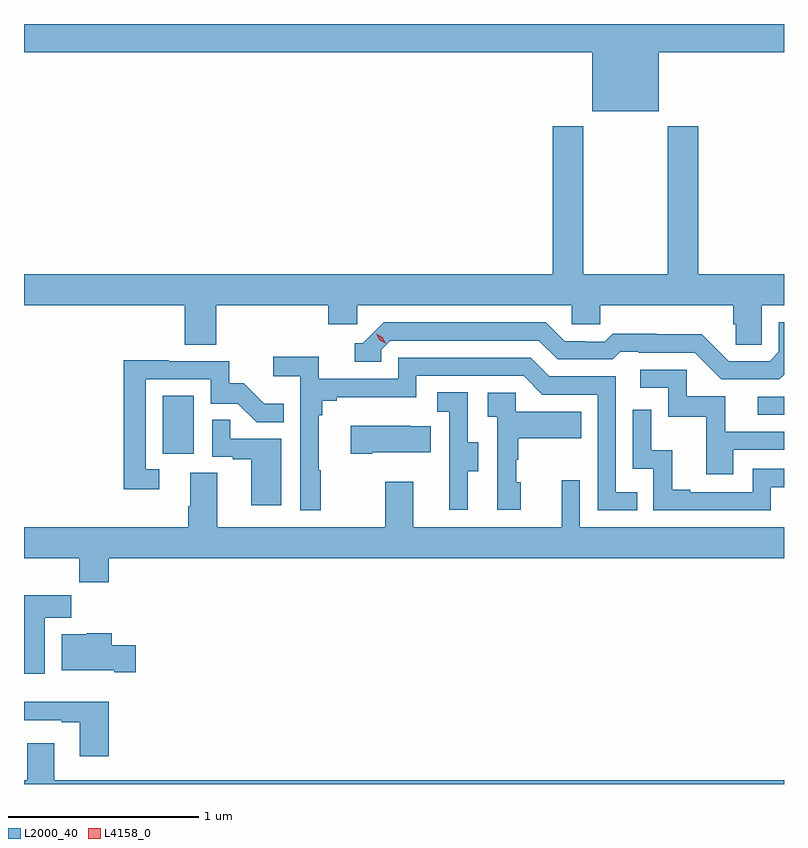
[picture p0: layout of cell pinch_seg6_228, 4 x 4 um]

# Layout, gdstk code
import gdstk
lib = gdstk.Library(unit=1e-6, precision=1e-09)
def R(c, l, rs):  # rectangles x0, y0, x1, y1
    for r in rs: c.add(gdstk.rectangle(r[:2], r[2:], *l))
def P(c, l, *ps):  # polygons
    for p in ps: c.add(gdstk.Polygon(p, *l))
L2000_40 = (2000, 40)
L4158_0 = (4158, 0)

pinch_seg6_228 = lib.new_cell('pinch_seg6_228')
R(pinch_seg6_228, L2000_40, [(1126.358,929.238,1126.522,929.545), (1129.491,929.445,1129.629,929.538)])
P(pinch_seg6_228, L2000_40, [(1128.97,931.352),(1129.629,931.352),(1129.629,931.501),(1125.629,931.501),(1125.629,931.352),(1128.62,931.352),(1128.62,931.043),(1128.97,931.043)],
  [(1126.64,930.02),(1127.231,930.02),(1127.231,929.922),(1127.382,929.922),(1127.382,930.02),(1128.513,930.02),(1128.513,929.922),(1128.663,929.922),(1128.663,930.02),(1129.361,930.02),(1129.361,929.922),(1129.375,929.922),(1129.375,929.812),(1129.512,929.812),(1129.512,930.02),(1129.629,930.02),(1129.629,930.184),(1129.178,930.184),(1129.178,930.964),(1129.018,930.964),(1129.018,930.184),(1128.573,930.184),(1128.573,930.964),(1128.413,930.964),(1128.413,930.184),(1125.629,930.184),(1125.629,930.02),(1126.475,930.02),(1126.475,929.812),(1126.64,929.812)],
  [(1129.629,929.655),(1129.629,929.931),(1129.602,929.931),(1129.602,929.775),(1129.554,929.727),(1129.338,929.727),(1129.196,929.869),(1128.96,929.869),(1128.96,929.872),(1128.727,929.872),(1128.685,929.829),(1128.582,929.829),(1128.582,929.832),(1128.475,929.832),(1128.376,929.931),(1127.523,929.931),(1127.412,929.82),(1127.369,929.82),(1127.369,929.724),(1127.508,929.724),(1127.508,929.787),(1127.556,929.835),(1128.339,929.835),(1128.438,929.736),(1128.727,929.736),(1128.766,929.775),(1128.865,929.775),(1128.865,929.772),(1129.158,929.772),(1129.299,929.631),(1129.605,929.631)],
  [(1127.191,929.153),(1127.179,929.153),(1127.179,929.441),(1127.198,929.441),(1127.198,929.518),(1127.275,929.518),(1127.275,929.537),(1127.694,929.537),(1127.694,929.649),(1128.258,929.649),(1128.357,929.55),(1128.648,929.55),(1128.648,928.941),(1128.857,928.941),(1128.857,929.037),(1128.744,929.037),(1128.744,929.646),(1128.394,929.646),(1128.295,929.745),(1127.598,929.745),(1127.598,929.634),(1127.18,929.634),(1127.18,929.75),(1126.941,929.75),(1126.941,929.648),(1127.082,929.648),(1127.082,928.941),(1127.191,928.941)],
  [(1126.342,929.157),(1126.269,929.157),(1126.269,929.631),(1126.611,929.631),(1126.611,929.502),(1126.755,929.502),(1126.853,929.404),(1126.997,929.404),(1126.997,929.503),(1126.893,929.503),(1126.786,929.61),(1126.71,929.61),(1126.71,929.727),(1126.391,929.727),(1126.391,929.732),(1126.153,929.732),(1126.153,929.052),(1126.342,929.052)],
  [(1129.363,929.259),(1129.629,929.259),(1129.629,929.355),(1129.321,929.355),(1129.321,929.541),(1129.116,929.541),(1129.116,929.682),(1128.873,929.682),(1128.873,929.586),(1129.02,929.586),(1129.02,929.433),(1129.219,929.433),(1129.219,929.13),(1129.363,929.13)],
  [(1127.965,929.146),(1128.019,929.146),(1128.019,929.301),(1127.964,929.301),(1127.964,929.564),(1127.805,929.564),(1127.805,929.461),(1127.868,929.461),(1127.868,929.157),(1127.867,929.157),(1127.867,928.944),(1127.965,928.944)],
  [(1128.244,929.088),(1128.219,929.088),(1128.219,929.207),(1128.229,929.207),(1128.229,929.321),(1128.563,929.321),(1128.563,929.461),(1128.216,929.461),(1128.216,929.559),(1128.069,929.559),(1128.069,929.435),(1128.12,929.435),(1128.12,928.944),(1128.244,928.944)],
  [(1129.56,929.064),(1129.629,929.064),(1129.629,929.16),(1129.464,929.16),(1129.464,929.037),(1129.135,929.037),(1129.135,929.05),(1129.04,929.05),(1129.04,929.258),(1128.93,929.258),(1128.93,929.47),(1128.834,929.47),(1128.834,929.16),(1128.942,929.16),(1128.942,928.941),(1129.56,928.941)],
  [(1126.984,929.319),(1126.715,929.319),(1126.715,929.417),(1126.62,929.417),(1126.62,929.223),(1126.727,929.223),(1126.727,929.211),(1126.826,929.211),(1126.826,928.968),(1126.984,928.968)],
  [(1127.461,929.246),(1127.771,929.246),(1127.771,929.383),(1127.663,929.383),(1127.663,929.386),(1127.349,929.386),(1127.349,929.239),(1127.461,929.239)],
  [(1126.076,928.688),(1129.629,928.688),(1129.629,928.852),(1128.555,928.852),(1128.555,929.101),(1128.458,929.101),(1128.458,928.852),(1127.677,928.852),(1127.677,929.092),(1127.53,929.092),(1127.53,928.852),(1126.645,928.852),(1126.645,929.138),(1126.505,929.138),(1126.505,928.964),(1126.493,928.964),(1126.493,928.852),(1125.629,928.852),(1125.629,928.688),(1125.919,928.688),(1125.919,928.564),(1126.076,928.564)],
  [(1125.739,928.376),(1125.878,928.376),(1125.878,928.495),(1125.629,928.495),(1125.629,928.08),(1125.739,928.08)],
  [(1126.216,928.23),(1126.091,928.23),(1126.091,928.294),(1125.96,928.294),(1125.96,928.288),(1125.827,928.288),(1125.827,928.1),(1126.103,928.1),(1126.103,928.088),(1126.216,928.088)],
  [(1126.076,927.934),(1125.629,927.934),(1125.629,927.837),(1125.827,927.837),(1125.827,927.825),(1125.923,927.825),(1125.923,927.648),(1126.076,927.648)],
  [(1129.629,927.52),(1125.787,927.52),(1125.787,927.715),(1125.647,927.715),(1125.647,927.52),(1125.629,927.52),(1125.629,927.501),(1129.629,927.501)])
P(pinch_seg6_228, L4158_0, [(1127.531,929.82),(1127.5,929.839),(1127.484,929.872),(1127.484,929.872),(1127.484,929.872),(1127.515,929.853),(1127.532,929.821),(1127.532,929.82)])

lib.write_gds('pinch_seg6_228.gds')
